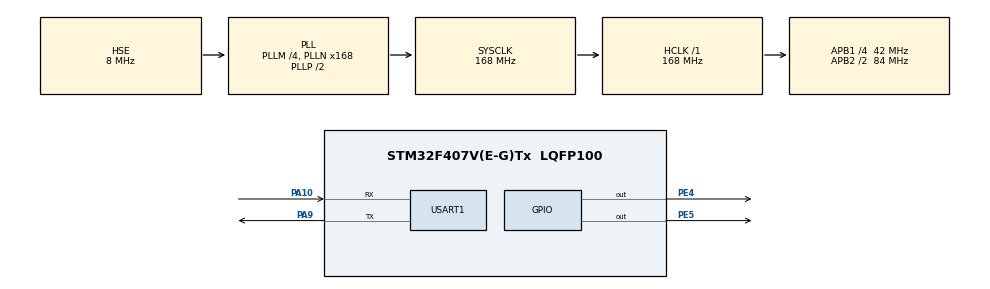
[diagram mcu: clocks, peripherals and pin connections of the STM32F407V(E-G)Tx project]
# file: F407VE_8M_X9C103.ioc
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Mcu.Family=STM32F4
Mcu.Name=STM32F407V(E-G)Tx
Mcu.Package=LQFP100
NVIC.PriorityGroup=NVIC_PRIORITYGROUP_4
NVIC.USART1_IRQn=true\:0\:0\:false\:false\:true\:true\:true
PA10.Mode=Asynchronous
PA10.Signal=USART1_RX
PA13.Mode=Serial_Wire
PA13.Signal=SYS_JTMS-SWDIO
PA14.Mode=Serial_Wire
PA14.Signal=SYS_JTCK-SWCLK
PA9.Mode=Asynchronous
PA9.Signal=USART1_TX
PC14-OSC32_IN.Mode=LSE-External-Oscillator
PC14-OSC32_IN.Signal=RCC_OSC32_IN
PC15-OSC32_OUT.Mode=LSE-External-Oscillator
PC15-OSC32_OUT.Signal=RCC_OSC32_OUT
PE4.GPIO_ModeDefaultOutputPP=GPIO_MODE_OUTPUT_PP
PE4.GPIO_PuPd=GPIO_PULLUP
PE4.GPIO_Speed=GPIO_SPEED_FREQ_VERY_HIGH
PE4.PinState=GPIO_PIN_SET
PE4.Signal=GPIO_Output
PE5.GPIO_ModeDefaultOutputPP=GPIO_MODE_OUTPUT_PP
PE5.GPIO_PuPd=GPIO_PULLUP
PE5.GPIO_Speed=GPIO_SPEED_FREQ_VERY_HIGH
PE5.PinState=GPIO_PIN_SET
PE5.Signal=GPIO_Output
PH0-OSC_IN.Mode=HSE-External-Oscillator
PH0-OSC_IN.Signal=RCC_OSC_IN
PH1-OSC_OUT.Mode=HSE-External-Oscillator
PH1-OSC_OUT.Signal=RCC_OSC_OUT
ProjectManager.HeapSize=0x200
ProjectManager.StackSize=0x400
ProjectManager.TargetToolchain=MDK-ARM V5.27
RCC.48MHZClocksFreq_Value=84000000
RCC.AHBFreq_Value=168000000
RCC.APB1CLKDivider=RCC_HCLK_DIV4
RCC.APB1Freq_Value=42000000
RCC.APB1TimFreq_Value=84000000
RCC.APB2CLKDivider=RCC_HCLK_DIV2
RCC.APB2Freq_Value=84000000
RCC.APB2TimFreq_Value=168000000
RCC.CortexFreq_Value=168000000
RCC.HCLKFreq_Value=168000000
RCC.HSE_VALUE=8000000
RCC.HSI_VALUE=16000000
RCC.PLLM=4
RCC.PLLN=168
RCC.PLLSourceVirtual=RCC_PLLSOURCE_HSE
RCC.SYSCLKFreq_VALUE=168000000
RCC.SYSCLKSource=RCC_SYSCLKSOURCE_PLLCLK
RCC.VCOOutputFreq_Value=336000000
USART1.VirtualMode=VM_ASYNC
board=custom

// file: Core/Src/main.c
/* USER CODE BEGIN Header */
/**
  ******************************************************************************
  * @file           : main.c
  * @brief          : Main program body
  ******************************************************************************
  * @attention
  *
  * <h2><center>&copy; Copyright (c) 2021 STMicroelectronics.
  * All rights reserved.</center></h2>
  *
  * This software component is licensed by ST under BSD 3-Clause license,
  * the "License"; You may not use this file except in compliance with the
  * License. You may obtain a copy of the License at:
  *                        opensource.org/licenses/BSD-3-Clause
  *
  ******************************************************************************
  */
/* USER CODE END Header */
#include "main.h"
#include "usart.h"
#include "gpio.h"

/* USER CODE BEGIN Includes */
#include "DELAY/delay.h"
#include "USART/myusart1.h"
#include "UTIL/util.h"
#include "DPot_X9C/x9c.h"
/* USER CODE END Includes */

void SystemClock_Config(void);

int main(void)
{
  /* USER CODE BEGIN 1 */
  char str[64];
  int8_t val;
  /* USER CODE END 1 */

  /* MCU Configuration--------------------------------------------------------*/

  /* Reset of all peripherals, Initializes the Flash interface and the Systick. */
  HAL_Init();

  /* Configure the system clock */
  SystemClock_Config();

  /* Initialize all configured peripherals */
  MX_GPIO_Init();
  MX_USART1_UART_Init();
  /* USER CODE BEGIN 2 */
  Delay_Init(168);
  MyUSART1_Init(&huart1);
  DPotX9C_Init();
  printf("X9C103 Test\r\n");
  /* USER CODE END 2 */

  /* Infinite loop */
  while (1)
  {

    /* USER CODE BEGIN 3 */
    Delay_ms(100);
    if(MyUSART1_ReadUntil(str, '>'))
    {
      if(str[0] == 'u') // up
      {
        DPotX9C_Change(1);
        printf("u: +1\r\n");
      }
      else if(str[0] == 'd') // down
      {
        DPotX9C_Change(-1);
        printf("d: -1\r\n");
      }
      else if(str[0] == 'c') // change
      {
        val = myatoi(str + 1);
        DPotX9C_Change(val);
        printf("c: %d\r\n", val);
      }
      else if(str[0] == 's') // store
      {
        DPotX9C_Store();
        printf("s\r\n");
      }
      else if(str[0] == 'r') // restore
      {
        DPotX9C_Return();
        printf("r\r\n");
      }
    }
  }
  /* USER CODE END 3 */
}

void SystemClock_Config(void)
{
  RCC_OscInitTypeDef RCC_OscInitStruct = {0};
  RCC_ClkInitTypeDef RCC_ClkInitStruct = {0};

  /** Configure the main internal regulator output voltage
  */
  __HAL_RCC_PWR_CLK_ENABLE();
  __HAL_PWR_VOLTAGESCALING_CONFIG(PWR_REGULATOR_VOLTAGE_SCALE1);
  /** Initializes the RCC Oscillators according to the specified parameters
  * in the RCC_OscInitTypeDef structure.
  */
  RCC_OscInitStruct.OscillatorType = RCC_OSCILLATORTYPE_HSE;
  RCC_OscInitStruct.HSEState = RCC_HSE_ON;
  RCC_OscInitStruct.PLL.PLLState = RCC_PLL_ON;
  RCC_OscInitStruct.PLL.PLLSource = RCC_PLLSOURCE_HSE;
  RCC_OscInitStruct.PLL.PLLM = 4;
  RCC_OscInitStruct.PLL.PLLN = 168;
  RCC_OscInitStruct.PLL.PLLP = RCC_PLLP_DIV2;
  RCC_OscInitStruct.PLL.PLLQ = 4;
  if (HAL_RCC_OscConfig(&RCC_OscInitStruct) != HAL_OK)
  {
    Error_Handler();
  }
  /** Initializes the CPU, AHB and APB buses clocks
  */
  RCC_ClkInitStruct.ClockType = RCC_CLOCKTYPE_HCLK|RCC_CLOCKTYPE_SYSCLK
                              |RCC_CLOCKTYPE_PCLK1|RCC_CLOCKTYPE_PCLK2;
  RCC_ClkInitStruct.SYSCLKSource = RCC_SYSCLKSOURCE_PLLCLK;
  RCC_ClkInitStruct.AHBCLKDivider = RCC_SYSCLK_DIV1;
  RCC_ClkInitStruct.APB1CLKDivider = RCC_HCLK_DIV4;
  RCC_ClkInitStruct.APB2CLKDivider = RCC_HCLK_DIV2;

  if (HAL_RCC_ClockConfig(&RCC_ClkInitStruct, FLASH_LATENCY_5) != HAL_OK)
  {
    Error_Handler();
  }
}

void Error_Handler(void)
{
  __disable_irq();
  while (1)
  {
  }
}

/************************ (C) COPYRIGHT STMicroelectronics *****END OF FILE****/
